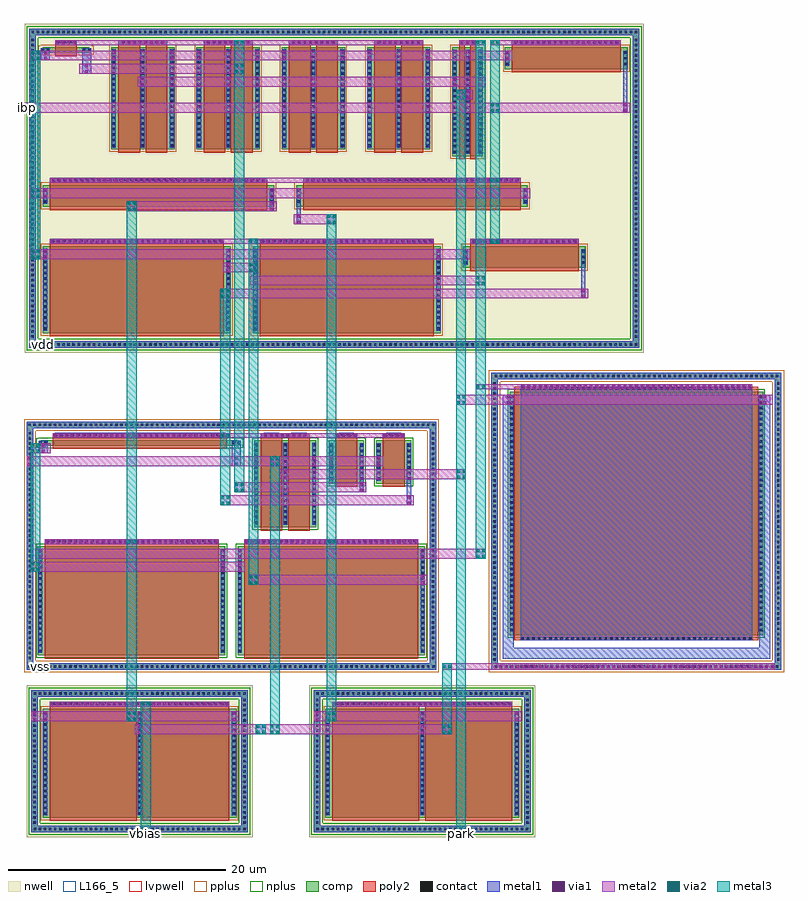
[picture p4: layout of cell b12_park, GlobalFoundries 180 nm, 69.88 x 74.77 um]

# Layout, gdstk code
import gdstk
lib = gdstk.Library(unit=1e-6, precision=1e-09)
def R(c, l, rs):  # rectangles x0, y0, x1, y1
    for r in rs: c.add(gdstk.rectangle(r[:2], r[2:], *l))
def A(c, l, x, y, w, h, nx, ny, dx, dy):  # array of equal rectangles
    R(c, l, [(x+i*dx, y+j*dy, x+i*dx+w, y+j*dy+h) for i in range(nx) for j in range(ny)])
def P(c, l, *ps):  # polygons
    for p in ps: c.add(gdstk.Polygon(p, *l))
nwell = (21, 0)
comp = (22, 0)
poly2 = (30, 0)
pplus = (31, 0)
nplus = (32, 0)
contact = (33, 0)
metal1 = (34, 0)
via1 = (35, 0)
metal2 = (36, 0)
via2 = (38, 0)
metal3 = (42, 0)
L166_5 = (166, 5)
lvpwell = (204, 0)

pfet_6_3 = lib.new_cell('pfet$6$3')
R(pfet_6_3, nwell, [(-1.07,-0.74,2.97,11.12)])
R(pfet_6_3, comp, [(-0.46,0,2.36,10)])
R(pfet_6_3, poly2, [(0.19,-0.3,0.69,10.68), (1.21,-0.3,1.71,10.68)])
R(pfet_6_3, pplus, [(-0.63,-0.24,2.53,10.24)])
A(pfet_6_3, contact, -0.34, 0.3, 0.22, 0.22, 3, 19, 1.18, 0.51)
R(pfet_6_3, contact, [(0.33,10.38,0.55,10.6), (1.35,10.38,1.57,10.6)])
A(pfet_6_3, metal1, -0.42, 0.22, 0.38, 9.56, 3, 1, 1.18, 0)
R(pfet_6_3, metal1, [(0.25,10.3,0.63,10.68), (1.27,10.3,1.65,10.68)])

pfet_5_3 = lib.new_cell('pfet$5$3')
R(pfet_5_3, nwell, [(-1.07,-0.74,5.97,10.495)])
R(pfet_5_3, comp, [(-0.46,0,5.36,9.375)])
R(pfet_5_3, poly2, [(0.19,-0.3,2.19,10.055), (2.71,-0.3,4.71,10.055)])
R(pfet_5_3, pplus, [(-0.63,-0.24,5.53,9.615)])
A(pfet_5_3, contact, -0.34, 0.245, 0.22, 0.22, 3, 18, 2.68, 0.51)
A(pfet_5_3, contact, 0.57, 9.755, 0.22, 0.22, 3, 1, 0.51, 0)
A(pfet_5_3, contact, 3.09, 9.755, 0.22, 0.22, 3, 1, 0.51, 0)
A(pfet_5_3, metal1, -0.42, 0.165, 0.38, 9.05, 3, 1, 2.68, 0)
R(pfet_5_3, metal1, [(0.49,9.675,1.89,10.055), (3.01,9.675,4.41,10.055)])

pfet_4_3 = lib.new_cell('pfet$4$3')
R(pfet_4_3, nwell, [(-1.56,-0.74,3.94,1.62)])
R(pfet_4_3, comp, [(-0.95,0,3.33,0.5)])
R(pfet_4_3, poly2, [(0.19,-0.3,2.19,1.18)])
R(pfet_4_3, pplus, [(-1.12,-0.24,3.5,0.74)])
A(pfet_4_3, contact, 0.57, 0.88, 0.22, 0.22, 3, 1, 0.51, 0)
R(pfet_4_3, contact, [(-0.585,0.14,-0.365,0.36), (2.745,0.14,2.965,0.36)])
R(pfet_4_3, metal1, [(-0.665,0.06,-0.285,0.44), (2.665,0.06,3.045,0.44), (0.49,0.8,1.89,1.18)])

pfet_w0p5_l2_nf1_2co = lib.new_cell('pfet_W0p5_L2_nf1_2co')
R(pfet_w0p5_l2_nf1_2co, comp, [(-1.125,0.06,-0.585,0.44), (2.965,0.06,3.505,0.44)])
R(pfet_w0p5_l2_nf1_2co, pplus, [(-1.355,-0.17,-0.585,0.67), (2.965,-0.17,3.735,0.67)])
R(pfet_w0p5_l2_nf1_2co, contact, [(-1.055,0.14,-0.835,0.36), (3.215,0.14,3.435,0.36)])
R(pfet_w0p5_l2_nf1_2co, metal1, [(-1.115,0.06,-0.285,0.44), (2.665,0.06,3.495,0.44)])
pfet_w0p5_l2_nf1_2co.add(gdstk.Reference(pfet_4_3, (0,0)))

pfet_3_5 = lib.new_cell('pfet$3$5')
R(pfet_3_5, nwell, [(-1.07,-0.74,21.45,3.12)])
R(pfet_3_5, comp, [(-0.46,0,20.84,2)])
R(pfet_3_5, poly2, [(0.19,-0.3,20.19,2.68)])
R(pfet_3_5, pplus, [(-0.63,-0.24,21.01,2.24)])
A(pfet_3_5, contact, -0.34, 0.38, 0.22, 0.22, 1, 3, 0, 0.51)
A(pfet_3_5, contact, 20.5, 0.38, 0.22, 0.22, 1, 3, 0, 0.51)
A(pfet_3_5, contact, 0.39, 2.38, 0.22, 0.22, 39, 1, 0.51, 0)
R(pfet_3_5, metal1, [(-0.42,0.3,-0.04,1.7), (20.42,0.3,20.8,1.7), (0.31,2.3,20.07,2.68)])

nfet_3_5 = lib.new_cell('nfet$3$5')
R(nfet_3_5, comp, [(-0.42,0,2.8,4)])
R(nfet_3_5, poly2, [(0.19,-0.3,2.19,4.66)])
R(nfet_3_5, nplus, [(-0.59,-0.24,2.97,4.24)])
A(nfet_3_5, contact, -0.32, 0.36, 0.22, 0.22, 1, 7, 0, 0.51)
A(nfet_3_5, contact, 2.48, 0.36, 0.22, 0.22, 1, 7, 0, 0.51)
A(nfet_3_5, contact, 0.57, 4.37, 0.22, 0.22, 3, 1, 0.51, 0)
R(nfet_3_5, metal1, [(-0.4,0.28,-0.02,3.72), (2.4,0.28,2.78,3.72), (0.49,4.29,1.89,4.67)])

pfet_2_5 = lib.new_cell('pfet$2$5')
R(pfet_2_5, nwell, [(-1.07,-0.74,11.45,3.12)])
R(pfet_2_5, comp, [(-0.46,0,10.84,2)])
R(pfet_2_5, poly2, [(0.19,-0.3,10.19,2.68)])
R(pfet_2_5, pplus, [(-0.63,-0.24,11.01,2.24)])
A(pfet_2_5, contact, -0.34, 0.38, 0.22, 0.22, 1, 3, 0, 0.51)
A(pfet_2_5, contact, 10.5, 0.38, 0.22, 0.22, 1, 3, 0, 0.51)
A(pfet_2_5, contact, 0.49, 2.38, 0.22, 0.22, 19, 1, 0.51, 0)
R(pfet_2_5, metal1, [(-0.42,0.3,-0.04,1.7), (10.42,0.3,10.8,1.7), (0.41,2.3,9.97,2.68)])

nfet_2_5 = lib.new_cell('nfet$2$5')
R(nfet_2_5, comp, [(-0.42,0,5.32,8)])
R(nfet_2_5, poly2, [(0.19,-0.3,2.19,8.66), (2.71,-0.3,4.71,8.66)])
R(nfet_2_5, nplus, [(-0.59,-0.24,5.49,8.24)])
A(nfet_2_5, contact, -0.32, 0.32, 0.22, 0.22, 3, 15, 2.66, 0.51)
A(nfet_2_5, contact, 0.57, 8.37, 0.22, 0.22, 3, 1, 0.51, 0)
A(nfet_2_5, contact, 3.09, 8.37, 0.22, 0.22, 3, 1, 0.51, 0)
A(nfet_2_5, metal1, -0.4, 0.24, 0.38, 7.52, 3, 1, 2.66, 0)
R(nfet_2_5, metal1, [(0.49,8.29,1.89,8.67), (3.01,8.29,4.41,8.67)])

pfet_1_6 = lib.new_cell('pfet$1$6')
R(pfet_1_6, nwell, [(-1.07,-0.74,17.45,9.12)])
R(pfet_1_6, comp, [(-0.46,0,16.84,8)])
R(pfet_1_6, poly2, [(0.19,-0.3,16.19,8.68)])
R(pfet_1_6, pplus, [(-0.63,-0.24,17.01,8.24)])
A(pfet_1_6, contact, -0.34, 0.32, 0.22, 0.22, 1, 15, 0, 0.51)
A(pfet_1_6, contact, 16.5, 0.32, 0.22, 0.22, 1, 15, 0, 0.51)
A(pfet_1_6, contact, 0.43, 8.38, 0.22, 0.22, 31, 1, 0.51, 0)
R(pfet_1_6, metal1, [(-0.42,0.24,-0.04,7.76), (16.42,0.24,16.8,7.76), (0.35,8.3,16.03,8.68)])

nfet_1_6 = lib.new_cell('nfet$1$6')
R(nfet_1_6, comp, [(-0.93,0,17.31,0.5)])
R(nfet_1_6, poly2, [(0.19,-0.3,16.19,1.16)])
R(nfet_1_6, nplus, [(-1.1,-0.24,17.48,0.74)])
A(nfet_1_6, contact, 0.43, 0.87, 0.22, 0.22, 31, 1, 0.51, 0)
R(nfet_1_6, contact, [(-0.575,0.14,-0.355,0.36), (16.735,0.14,16.955,0.36)])
R(nfet_1_6, metal1, [(-0.655,0.06,-0.275,0.44), (16.655,0.06,17.035,0.44), (0.35,0.79,16.03,1.17)])

nfet_w0p5_l16_nf1_2co = lib.new_cell('nfet_W0p5_L16_nf1_2co')
R(nfet_w0p5_l16_nf1_2co, comp, [(-1.115,0.06,-0.575,0.44), (16.955,0.06,17.495,0.44)])
R(nfet_w0p5_l16_nf1_2co, nplus, [(-1.345,-0.17,-0.575,0.67), (16.955,-0.17,17.725,0.67)])
R(nfet_w0p5_l16_nf1_2co, contact, [(-1.045,0.14,-0.825,0.36), (17.205,0.14,17.425,0.36)])
R(nfet_w0p5_l16_nf1_2co, metal1, [(-1.105,0.06,-0.275,0.44), (16.655,0.06,17.485,0.44)])
nfet_w0p5_l16_nf1_2co.add(gdstk.Reference(nfet_1_6, (0,0)))

cap_nmos_2 = lib.new_cell('cap_nmos$2')
R(cap_nmos_2, comp, [(0,0,23.3,22.42)])
R(cap_nmos_2, poly2, [(0.44,-0.46,22.86,22.88)])
R(cap_nmos_2, nplus, [(-0.16,-0.23,23.46,22.65)])
A(cap_nmos_2, contact, 1.085, -0.39, 0.22, 0.22, 42, 2, 0.51, 22.98)
A(cap_nmos_2, contact, 0.07, 0.39, 0.22, 0.22, 1, 43, 0, 0.51)
A(cap_nmos_2, contact, 23.01, 0.39, 0.22, 0.22, 1, 43, 0, 0.51)
R(cap_nmos_2, metal1, [(1.005,-0.47,22.295,22.89)])
P(cap_nmos_2, metal1, [(-0.63,-2.13),(-0.63,22.11),(0.37,22.11),(0.37,-1.13),(22.95,-1.13),(22.95,0.31),(22.93,0.31),(22.93,22.11),(23.95,22.11),(23.95,-2.13)])
R(cap_nmos_2, L166_5, [(0,0,23.3,22.42)])
R(cap_nmos_2, lvpwell, [(0,0,23.3,22.42)])

nfet_15 = lib.new_cell('nfet$15')
R(nfet_15, comp, [(-0.42,0,16.8,10)])
R(nfet_15, poly2, [(0.19,-0.3,16.19,10.66)])
R(nfet_15, nplus, [(-0.59,-0.24,16.97,10.24)])
A(nfet_15, contact, -0.32, 0.3, 0.22, 0.22, 1, 19, 0, 0.51)
A(nfet_15, contact, 16.48, 0.3, 0.22, 0.22, 1, 19, 0, 0.51)
A(nfet_15, contact, 0.43, 10.37, 0.22, 0.22, 31, 1, 0.51, 0)
R(nfet_15, metal1, [(-0.4,0.22,-0.02,9.78), (16.4,0.22,16.78,9.78), (0.35,10.29,16.03,10.67)])

pfet_19 = lib.new_cell('pfet$19')
R(pfet_19, nwell, [(-1.07,-0.74,17.97,11.12)])
R(pfet_19, comp, [(-0.46,0,17.36,10)])
R(pfet_19, poly2, [(0.19,-0.3,8.19,10.68), (8.71,-0.3,16.71,10.68)])
R(pfet_19, pplus, [(-0.63,-0.24,17.53,10.24)])
A(pfet_19, contact, -0.34, 0.3, 0.22, 0.22, 3, 19, 8.68, 0.51)
A(pfet_19, contact, 0.51, 10.38, 0.22, 0.22, 15, 1, 0.51, 0)
A(pfet_19, contact, 9.03, 10.38, 0.22, 0.22, 15, 1, 0.51, 0)
A(pfet_19, metal1, -0.42, 0.22, 0.38, 9.56, 3, 1, 8.68, 0)
R(pfet_19, metal1, [(0.43,10.3,7.95,10.68), (8.95,10.3,16.47,10.68)])

b12_park = lib.new_cell('b12_park')
R(b12_park, nwell, [(0.24,0,21.02,13.94), (26.23,0,47.01,13.94), (0.065,44.55,57,74.77)])
R(b12_park, comp, [(0.67,0.43,20.59,1.03), (26.66,0.43,46.58,1.03), (0.67,1.03,1.27,12.91), (19.99,1.03,20.59,12.91), (26.66,1.03,27.26,12.91), (45.98,1.03,46.58,12.91), (0.67,12.91,20.59,13.51), (26.66,12.91,46.58,13.51), (0.23,15.37,37.91,15.97), (42.97,15.37,69.65,15.97), (0.23,15.97,0.83,37.61), (37.31,15.97,37.91,37.61), (42.97,15.97,43.57,42.08), (69.05,15.97,69.65,42.08), (0.23,37.61,37.91,38.21), (42.97,42.08,69.65,42.68), (0.495,44.98,56.57,45.58), (0.495,45.58,1.095,73.74), (55.97,45.58,56.57,73.74), (0.495,73.74,56.57,74.34)])
A(b12_park, poly2, 8.67, 72.83, 4.52, 0.46, 4, 1, 7.84, 0)
R(b12_park, poly2, [(2.37,12,18.89,12.46), (28.36,12,44.88,12.46), (1.89,26.94,17.89,27.38), (20.25,26.94,36.25,27.38), (2.645,36.71,18.645,37.15), (21.76,36.71,26.28,37.15), (28.64,36.71,30.64,37.15), (33,36.71,35,37.15), (2.37,54.55,18.37,55.01), (21.69,54.55,37.69,55.01), (41.01,54.55,51.01,55.01), (2.37,60.17,22.37,60.63), (25.69,60.17,45.69,60.63), (2.86,72.83,4.86,73.29), (40.03,72.83,41.55,73.29), (44.87,72.83,54.87,73.29)])
R(b12_park, pplus, [(0,15.14,38.14,16.2), (42.74,15.14,69.88,16.2), (0,16.2,1.06,37.38), (37.08,16.2,38.14,37.38), (42.74,16.2,43.8,41.85), (68.82,16.2,69.88,41.85), (0,37.38,38.14,38.44), (42.74,41.85,69.88,42.91)])
R(b12_park, nplus, [(0.44,0.2,20.82,1.26), (26.43,0.2,46.81,1.26), (0.44,1.26,1.5,12.68), (19.76,1.26,20.82,12.68), (26.43,1.26,27.49,12.68), (45.75,1.26,46.81,12.68), (0.44,12.68,20.82,13.74), (26.43,12.68,46.81,13.74), (0.265,44.75,56.8,45.81), (0.265,45.81,1.325,73.51), (55.74,45.81,56.8,73.51), (0.265,73.51,56.8,74.57)])
A(b12_park, contact, 0.885, 0.62, 0.22, 0.22, 42, 2, 0.47, 12.48)
A(b12_park, contact, 26.875, 0.62, 0.22, 0.22, 42, 2, 0.47, 12.48)
A(b12_park, contact, 0.86, 1.22, 0.22, 0.22, 1, 25, 0, 0.47)
A(b12_park, contact, 20.18, 1.22, 0.22, 0.22, 1, 25, 0, 0.47)
A(b12_park, contact, 26.85, 1.22, 0.22, 0.22, 1, 25, 0, 0.47)
A(b12_park, contact, 46.17, 1.22, 0.22, 0.22, 1, 25, 0, 0.47)
A(b12_park, contact, 0.395, 15.56, 0.22, 0.22, 80, 2, 0.47, 22.24)
A(b12_park, contact, 43.275, 15.56, 0.22, 0.22, 56, 2, 0.47, 26.71)
A(b12_park, contact, 43.16, 16.225, 0.22, 0.22, 1, 55, 0, 0.47)
A(b12_park, contact, 69.24, 16.225, 0.22, 0.22, 1, 55, 0, 0.47)
A(b12_park, contact, 0.42, 16.34, 0.22, 0.22, 1, 45, 0, 0.47)
A(b12_park, contact, 37.5, 16.34, 0.22, 0.22, 1, 45, 0, 0.47)
A(b12_park, contact, 0.695, 45.17, 0.22, 0.22, 119, 2, 0.47, 28.76)
A(b12_park, contact, 0.685, 45.92, 0.22, 0.22, 1, 59, 0, 0.47)
A(b12_park, contact, 56.16, 45.92, 0.22, 0.22, 1, 59, 0, 0.47)
R(b12_park, contact, [(10.34,12.12,10.56,12.34), (36.33,12.12,36.55,12.34), (23.63,36.82,23.85,37.04), (24.13,36.82,24.35,37.04), (10.54,72.95,10.76,73.17), (11.04,72.95,11.26,73.17), (18.38,72.95,18.6,73.17), (18.88,72.95,19.1,73.17), (26.22,72.95,26.44,73.17), (26.72,72.95,26.94,73.17), (34.06,72.95,34.28,73.17), (34.56,72.95,34.78,73.17), (40.65,72.95,40.87,73.17)])
A(b12_park, metal1, 8.67, 72.83, 4.52, 0.46, 4, 1, 7.84, 0)
R(b12_park, metal1, [(0.67,0.43,20.59,1.03), (26.66,0.43,46.58,1.03), (0.67,1.03,1.27,12.91), (19.99,1.03,20.59,12.91), (26.66,1.03,27.26,12.91), (45.98,1.03,46.58,12.91), (2.37,12,18.89,12.46), (28.36,12,44.88,12.46), (0.67,12.91,20.59,13.51), (26.66,12.91,46.58,13.51), (0.23,15.37,37.91,15.97), (1.23,15.37,1.83,15.97), (42.97,15.37,69.65,15.97), (0.23,15.97,0.83,37.61), (37.31,15.97,37.91,37.61), (42.97,15.97,43.57,42.08), (69.05,15.97,69.65,42.08), (1.89,26.94,17.89,27.38), (20.25,26.94,36.25,27.38), (35.21,30.51,35.59,32.87), (30.85,31.71,31.23,32.87), (19.11,34.11,19.94,36.15), (1.35,35.31,2.18,36.15), (2.645,36.71,18.645,37.15), (21.76,36.71,26.28,37.15), (28.64,36.71,30.64,37.15), (33,36.71,35,37.15), (0.23,37.61,37.91,38.21), (45.655,41.19,66.945,41.63), (42.97,42.08,69.65,42.68), (0.495,44.98,56.57,45.58), (1.495,44.98,2.095,45.58), (0.495,45.58,1.095,73.74), (55.97,45.58,56.57,73.74), (51.24,49.53,51.62,52.73), (2.37,54.55,18.37,55.01), (21.69,54.55,37.69,55.01), (41.01,54.55,51.01,55.01), (25.08,56.35,25.46,58.35), (22.6,57.55,22.98,58.35), (2.37,60.17,22.37,60.63), (25.69,60.17,45.69,60.63), (55.1,66.61,55.48,71.01), (5.335,70.21,6.165,72.27), (1.555,71.41,2.385,72.27), (2.86,72.83,4.86,73.29), (40.03,72.83,41.55,73.29), (44.87,72.83,54.87,73.29), (0.495,73.74,56.57,74.34)])
A(b12_park, via1, 2.44, 12.1, 0.26, 0.26, 32, 1, 0.52, 0)
A(b12_park, via1, 28.43, 12.1, 0.26, 0.26, 32, 1, 0.52, 0)
A(b12_park, via1, 43.7, 15.54, 0.26, 0.26, 49, 1, 0.52, 0)
A(b12_park, via1, 1.96, 27.03, 0.26, 0.26, 31, 1, 0.52, 0)
A(b12_park, via1, 20.32, 27.03, 0.26, 0.26, 31, 1, 0.52, 0)
A(b12_park, via1, 2.715, 36.8, 0.26, 0.26, 31, 1, 0.52, 0)
A(b12_park, via1, 22.07, 36.8, 0.26, 0.26, 8, 1, 0.52, 0)
A(b12_park, via1, 28.73, 36.8, 0.26, 0.26, 4, 1, 0.52, 0)
A(b12_park, via1, 33.09, 36.8, 0.26, 0.26, 4, 1, 0.52, 0)
A(b12_park, via1, 45.77, 41.28, 0.26, 0.26, 41, 1, 0.52, 0)
A(b12_park, via1, 2.44, 54.65, 0.26, 0.26, 31, 1, 0.52, 0)
A(b12_park, via1, 21.76, 54.65, 0.26, 0.26, 31, 1, 0.52, 0)
A(b12_park, via1, 41.2, 54.65, 0.26, 0.26, 19, 1, 0.52, 0)
A(b12_park, via1, 2.62, 60.27, 0.26, 0.26, 38, 1, 0.52, 0)
A(b12_park, via1, 25.94, 60.27, 0.26, 0.26, 38, 1, 0.52, 0)
A(b12_park, via1, 10.8, 69.07, 0.26, 0.26, 4, 2, 7.84, 0.52)
A(b12_park, via1, 2.95, 72.93, 0.26, 0.26, 4, 1, 0.52, 0)
A(b12_park, via1, 8.98, 72.93, 0.26, 0.26, 8, 1, 0.52, 0)
A(b12_park, via1, 16.82, 72.93, 0.26, 0.26, 8, 1, 0.52, 0)
A(b12_park, via1, 24.66, 72.93, 0.26, 0.26, 8, 1, 0.52, 0)
A(b12_park, via1, 32.5, 72.93, 0.26, 0.26, 8, 1, 0.52, 0)
A(b12_park, via1, 40.14, 72.93, 0.26, 0.26, 3, 1, 0.52, 0)
A(b12_park, via1, 45.06, 72.93, 0.26, 0.26, 19, 1, 0.52, 0)
R(b12_park, via1, [(10.5,9.52,10.76,9.78), (36.49,9.52,36.75,9.78), (10.5,10.04,10.76,10.3), (36.49,10.04,36.75,10.3), (0.84,10.72,1.1,10.98), (1.82,10.72,2.08,10.98), (19.18,10.72,19.44,10.98), (26.83,10.72,27.09,10.98), (27.81,10.72,28.07,10.98), (45.17,10.72,45.43,10.98), (0.84,11.24,1.1,11.5), (1.82,11.24,2.08,11.5), (19.18,11.24,19.44,11.5), (26.83,11.24,27.09,11.5), (27.81,11.24,28.07,11.5), (45.17,11.24,45.43,11.5), (36.52,23.26,36.78,23.52), (36.52,23.78,36.78,24.04), (18.16,24.46,18.42,24.72), (19.72,24.46,19.98,24.72), (18.16,24.98,18.42,25.24), (19.72,24.98,19.98,25.24), (1.36,25.66,1.62,25.92), (1.36,26.18,1.62,26.44), (35.27,30.57,35.53,30.83), (35.27,31.09,35.53,31.35), (30.91,31.77,31.17,32.03), (30.91,32.29,31.17,32.55), (23.89,32.97,24.15,33.23), (23.89,33.49,24.15,33.75), (0.4,34.17,0.66,34.43), (19.395,34.17,19.655,34.43), (21.23,34.17,21.49,34.43), (26.55,34.17,26.81,34.43), (28.11,34.17,28.37,34.43), (32.47,34.17,32.73,34.43), (0.4,34.69,0.66,34.95), (19.395,34.69,19.655,34.95), (21.23,34.69,21.49,34.95), (26.55,34.69,26.81,34.95), (28.11,34.69,28.37,34.95), (32.47,34.69,32.73,34.95), (1.635,35.37,1.895,35.63), (1.635,35.89,1.895,36.15), (44.39,39.82,44.65,40.08), (67.97,39.82,68.23,40.08), (44.39,40.34,44.65,40.6), (67.97,40.34,68.23,40.6), (51.3,49.59,51.56,49.85), (51.3,50.11,51.56,50.37), (21.14,50.79,21.4,51.05), (21.14,51.31,21.4,51.57), (18.66,51.99,18.92,52.25), (18.66,52.51,18.92,52.77), (0.665,53.19,0.925,53.45), (1.82,53.19,2.08,53.45), (37.98,53.19,38.24,53.45), (40.46,53.19,40.72,53.45), (0.665,53.71,0.925,53.97), (1.82,53.71,2.08,53.97), (37.98,53.71,38.24,53.97), (40.46,53.71,40.72,53.97), (25.14,56.41,25.4,56.67), (25.14,56.93,25.4,57.19), (22.66,57.61,22.92,57.87), (22.66,58.13,22.92,58.39), (0.665,58.81,0.925,59.07), (1.82,58.81,2.08,59.07), (45.98,58.81,46.24,59.07), (0.665,59.33,0.925,59.59), (1.82,59.33,2.08,59.59), (45.98,59.33,46.24,59.59), (55.16,66.67,55.42,66.93), (55.16,67.19,55.42,67.45), (40.66,67.87,40.92,68.13), (40.66,68.39,40.92,68.65), (39.48,69.07,39.74,69.33), (41.84,69.07,42.1,69.33), (39.48,69.59,39.74,69.85), (41.84,69.59,42.1,69.85), (5.62,70.27,5.88,70.53), (5.62,70.79,5.88,71.05), (0.665,71.47,0.925,71.73), (1.84,71.47,2.1,71.73), (8.12,71.47,8.38,71.73), (13.48,71.47,13.74,71.73), (15.96,71.47,16.22,71.73), (21.32,71.47,21.58,71.73), (23.8,71.47,24.06,71.73), (29.16,71.47,29.42,71.73), (31.64,71.47,31.9,71.73), (37,71.47,37.26,71.73), (44.32,71.47,44.58,71.73), (0.665,71.99,0.925,72.25), (1.84,71.99,2.1,72.25), (8.12,71.99,8.38,72.25), (13.48,71.99,13.74,72.25), (15.96,71.99,16.22,72.25), (21.32,71.99,21.58,72.25), (23.8,71.99,24.06,72.25), (29.16,71.99,29.42,72.25), (31.64,71.99,31.9,72.25), (37,71.99,37.26,72.25), (44.32,71.99,44.58,72.25)])
R(b12_park, metal2, [(10.18,9.46,22.22,10.36), (21.32,9.46,39.34,10.36), (21.32,9.46,22.22,10.36), (22.62,9.46,23.52,10.36), (38.44,9.46,39.34,10.36), (0.67,10.66,19.76,11.56), (9.45,10.66,10.35,11.56), (26.66,10.66,45.75,11.56), (27.82,10.66,28.72,11.56), (2.37,12,18.89,12.46), (10.75,12,11.65,12.46), (28.36,12,44.88,12.46), (39.74,12,40.64,12.46), (38.44,15.37,69.05,15.97), (38.44,15.37,39.34,15.97), (20.65,23.2,21.55,24.1), (20.65,23.2,37.1,24.1), (0.6,24.4,1.5,25.3), (0.6,24.4,20.3,25.3), (1.04,25.6,42.44,26.5), (41.54,25.6,42.44,26.5), (1.89,26.94,17.89,27.38), (9.45,26.94,10.35,27.38), (20.25,26.94,36.25,27.38), (27.82,26.94,28.72,27.38), (18.05,30.51,18.95,31.41), (18.05,30.51,35.85,31.41), (19.35,31.71,31.49,32.61), (19.35,31.71,20.25,32.61), (23.57,32.91,40.64,33.81), (39.74,32.91,40.64,33.81), (0.23,34.11,33.05,35.01), (22.62,34.11,23.52,35.01), (0.6,35.31,1.5,36.21), (0.6,35.31,2.44,36.21), (2.645,36.71,35,37.15), (18.05,36.71,18.95,37.15), (39.74,39.76,40.64,40.66), (39.74,39.76,68.86,40.66), (41.54,41.19,42.44,41.63), (41.54,41.19,66.945,41.63), (18.05,49.53,18.95,50.43), (18.05,49.53,51.88,50.43), (20.82,50.73,42.44,51.63), (41.54,50.73,42.44,51.63), (18.34,51.93,21.55,52.83), (20.65,51.93,21.55,52.83), (0.495,53.13,41.04,54.03), (0.6,53.13,1.5,54.03), (2.37,54.55,37.69,55.01), (20.65,54.55,21.55,55.01), (41.01,54.55,51.01,55.01), (42.85,54.55,43.75,55.01), (24.82,56.35,28.72,57.25), (27.82,56.35,28.72,57.25), (9.45,57.55,23.24,58.45), (9.45,57.55,10.35,58.45), (0.495,58.75,46.56,59.65), (0.6,58.75,1.5,59.65), (2.37,60.17,45.69,60.63), (42.85,60.17,43.75,60.63), (0,66.61,55.74,67.51), (0,66.61,0.6,67.51), (42.85,66.61,43.75,67.51), (39.74,67.81,40.64,68.71), (39.74,67.81,41.24,68.71), (10.48,69.01,42.42,69.91), (5.075,70.21,20.25,71.11), (19.35,70.21,20.25,71.11), (0.495,71.41,44.9,72.31), (0.6,71.41,1.5,72.31), (2.86,72.83,36.71,73.29), (19.35,72.83,20.25,73.29), (40.03,72.83,42.44,73.29), (41.54,72.83,42.44,73.29), (42.85,72.83,54.87,73.29), (42.85,72.83,43.75,73.29)])
R(b12_park, via2, [(21.38,9.52,21.64,9.78), (21.9,9.52,22.16,9.78), (22.68,9.52,22.94,9.78), (23.2,9.52,23.46,9.78), (38.5,9.52,38.76,9.78), (39.02,9.52,39.28,9.78), (21.38,10.04,21.64,10.3), (21.9,10.04,22.16,10.3), (22.68,10.04,22.94,10.3), (23.2,10.04,23.46,10.3), (38.5,10.04,38.76,10.3), (39.02,10.04,39.28,10.3), (9.51,10.72,9.77,10.98), (10.03,10.72,10.29,10.98), (27.88,10.72,28.14,10.98), (28.4,10.72,28.66,10.98), (9.51,11.24,9.77,11.5), (10.03,11.24,10.29,11.5), (27.88,11.24,28.14,11.5), (28.4,11.24,28.66,11.5), (10.81,12.1,11.07,12.36), (11.33,12.1,11.59,12.36), (39.8,12.1,40.06,12.36), (40.32,12.1,40.58,12.36), (38.5,15.54,38.76,15.8), (39.02,15.54,39.28,15.8), (20.71,23.26,20.97,23.52), (21.23,23.26,21.49,23.52), (20.71,23.78,20.97,24.04), (21.23,23.78,21.49,24.04), (0.66,24.46,0.92,24.72), (1.18,24.46,1.44,24.72), (0.66,24.98,0.92,25.24), (1.18,24.98,1.44,25.24), (41.6,25.66,41.86,25.92), (42.12,25.66,42.38,25.92), (41.6,26.18,41.86,26.44), (42.12,26.18,42.38,26.44), (9.51,27.03,9.77,27.29), (10.03,27.03,10.29,27.29), (27.88,27.03,28.14,27.29), (28.4,27.03,28.66,27.29), (18.11,30.57,18.37,30.83), (18.63,30.57,18.89,30.83), (18.11,31.09,18.37,31.35), (18.63,31.09,18.89,31.35), (19.41,31.77,19.67,32.03), (19.93,31.77,20.19,32.03), (19.41,32.29,19.67,32.55), (19.93,32.29,20.19,32.55), (39.8,32.97,40.06,33.23), (40.32,32.97,40.58,33.23), (39.8,33.49,40.06,33.75), (40.32,33.49,40.58,33.75), (22.68,34.17,22.94,34.43), (23.2,34.17,23.46,34.43), (22.68,34.69,22.94,34.95), (23.2,34.69,23.46,34.95), (0.66,35.37,0.92,35.63), (1.18,35.37,1.44,35.63), (0.66,35.89,0.92,36.15), (1.18,35.89,1.44,36.15), (18.11,36.8,18.37,37.06), (18.63,36.8,18.89,37.06), (39.8,39.82,40.06,40.08), (40.32,39.82,40.58,40.08), (39.8,40.34,40.06,40.6), (40.32,40.34,40.58,40.6), (41.6,41.28,41.86,41.54), (42.12,41.28,42.38,41.54), (18.11,49.59,18.37,49.85), (18.63,49.59,18.89,49.85), (18.11,50.11,18.37,50.37), (18.63,50.11,18.89,50.37), (41.6,50.79,41.86,51.05), (42.12,50.79,42.38,51.05), (41.6,51.31,41.86,51.57), (42.12,51.31,42.38,51.57), (20.71,51.99,20.97,52.25), (21.23,51.99,21.49,52.25), (20.71,52.51,20.97,52.77), (21.23,52.51,21.49,52.77), (0.66,53.19,0.92,53.45), (1.18,53.19,1.44,53.45), (0.66,53.71,0.92,53.97), (1.18,53.71,1.44,53.97), (20.71,54.65,20.97,54.91), (21.23,54.65,21.49,54.91), (42.91,54.65,43.17,54.91), (43.43,54.65,43.69,54.91), (27.88,56.41,28.14,56.67), (28.4,56.41,28.66,56.67), (27.88,56.93,28.14,57.19), (28.4,56.93,28.66,57.19), (9.51,57.61,9.77,57.87), (10.03,57.61,10.29,57.87), (9.51,58.13,9.77,58.39), (10.03,58.13,10.29,58.39), (0.66,58.81,0.92,59.07), (1.18,58.81,1.44,59.07), (0.66,59.33,0.92,59.59), (1.18,59.33,1.44,59.59), (42.91,60.27,43.17,60.53), (43.43,60.27,43.69,60.53), (42.91,66.67,43.17,66.93), (43.43,66.67,43.69,66.93), (42.91,67.19,43.17,67.45), (43.43,67.19,43.69,67.45), (39.8,67.87,40.06,68.13), (40.32,67.87,40.58,68.13), (39.8,68.39,40.06,68.65), (40.32,68.39,40.58,68.65), (19.41,70.27,19.67,70.53), (19.93,70.27,20.19,70.53), (19.41,70.79,19.67,71.05), (19.93,70.79,20.19,71.05), (0.66,71.47,0.92,71.73), (1.18,71.47,1.44,71.73), (0.66,71.99,0.92,72.25), (1.18,71.99,1.44,72.25), (19.41,72.93,19.67,73.19), (19.93,72.93,20.19,73.19), (41.6,72.93,41.86,73.19), (42.12,72.93,42.38,73.19), (42.91,72.93,43.17,73.19), (43.43,72.93,43.69,73.19)])
R(b12_park, metal3, [(10.75,0,11.65,0.6), (10.75,0,11.65,12.46), (39.74,0,40.64,68.71), (39.74,0,40.64,0.6), (21.32,9.46,22.22,10.36), (22.62,9.46,23.52,35.01), (38.44,9.46,39.34,15.97), (9.45,10.66,10.35,58.45), (27.82,10.66,28.72,57.25), (20.65,23.2,21.55,55.01), (0.6,24.4,1.5,36.21), (41.54,25.6,42.44,73.29), (18.05,30.51,18.95,50.43), (19.35,31.71,20.25,73.29), (0.6,53.13,1.5,72.31), (42.85,54.55,43.75,73.29)])
b12_park.add(gdstk.Reference(pfet_6_3, (39.84,62.61)))
b12_park.add(gdstk.Reference(pfet_5_3, (8.48,63.235)))
b12_park.add(gdstk.Reference(pfet_5_3, (16.32,63.235)))
b12_park.add(gdstk.Reference(pfet_5_3, (24.16,63.235)))
b12_park.add(gdstk.Reference(pfet_5_3, (32,63.235)))
b12_park.add(gdstk.Reference(pfet_w0p5_l2_nf1_2co, (2.67,72.11)))
b12_park.add(gdstk.Reference(pfet_3_5, (2.18,57.95)))
b12_park.add(gdstk.Reference(pfet_3_5, (25.5,57.95)))
b12_park.add(gdstk.Reference(nfet_3_5, (28.45,32.49)))
b12_park.add(gdstk.Reference(nfet_3_5, (32.81,32.49)))
b12_park.add(gdstk.Reference(pfet_2_5, (40.82,52.33)))
b12_park.add(gdstk.Reference(pfet_2_5, (44.68,70.61)))
b12_park.add(gdstk.Reference(nfet_2_5, (21.57,28.49)))
b12_park.add(gdstk.Reference(pfet_1_6, (2.18,46.33)))
b12_park.add(gdstk.Reference(pfet_1_6, (21.5,46.33)))
b12_park.add(gdstk.Reference(nfet_w0p5_l16_nf1_2co, (2.455,35.99)))
b12_park.add(gdstk.Reference(cap_nmos_2, (44.65,18.55)))
b12_park.add(gdstk.Reference(nfet_15, (1.7,16.72)))
b12_park.add(gdstk.Reference(nfet_15, (20.06,16.72)))
b12_park.add(gdstk.Reference(pfet_19, (2.18,1.78)))
b12_park.add(gdstk.Reference(pfet_19, (28.17,1.78)))
b12_park.add(gdstk.Label('vdd', (1.795,45.28), layer=34, texttype=10))
b12_park.add(gdstk.Label('vss', (1.53,15.67), layer=34, texttype=10))
b12_park.add(gdstk.Label('vbias', (11.2,0.3), layer=42, texttype=10))
b12_park.add(gdstk.Label('park', (40.19,0.3), layer=42, texttype=10))
b12_park.add(gdstk.Label('ibp', (0.3,67.06), layer=36, texttype=10))

lib.write_gds('b12_park.gds')
